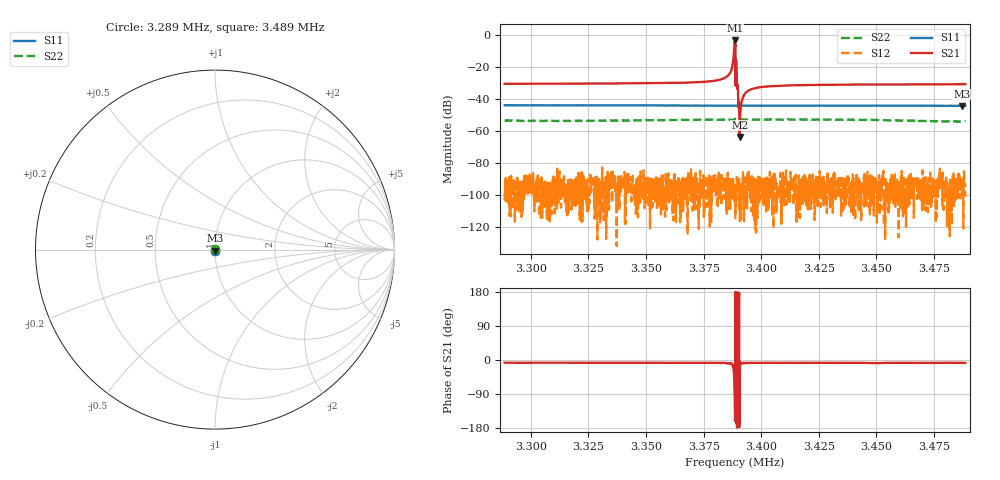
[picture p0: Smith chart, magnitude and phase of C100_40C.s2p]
# Hz S dB R 50.000
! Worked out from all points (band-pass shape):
!   6401 points, 3.289 MHz to 3.489 MHz, reference 50 ohm
!   highest |S21| = -3.53 dB at 3.389 MHz (marker M1); lowest = -63.9 dB at 3.391 MHz (marker M2)
!   |S21| within 3 dB of the highest: 3.388382 MHz to 3.388656 MHz (274 Hz wide, 0.00809 % of centre); 3.388738 MHz to 3.388755 MHz (17.18 Hz wide, 0.000507 % of centre)
!   lowest |S11| = -44.4 dB at 3.487 MHz (marker M3), VSWR 1.01, Z = 49.9 - j0.598 ohm
!   |S11| at or under -10 dB: start of sweep to end of sweep
!   |S22| runs from -54.4 to -52.5 dB; largest |S21 - S12| = 0.67
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3288594  -43.98 -94.9  -30.58 -7.1  -103.29 -78.7  -53.52 106.9
3321938  -44.04 -95.7  -30.48 -7.2  -98.46 -30.9  -53.77 104.3
3355282  -44.13 -96.8  -30.19 -7.4  -102.63 -43.3  -53.25 102.6
3382094  -44.22 -96.6  -27.98 -7.9  -94.61 4.6  -53.06 105.2
3385813  -44.24 -96.3  -25.10 -8.7  -90.65 22.5  -53.01 105.9
3386938  -44.24 -96.2  -22.37 -10.2  -93.00 88.5  -53.09 105.1
3387438  -44.24 -96.7  -19.56 -11.2  -98.21 142.4  -53.05 105.3
3387813  -44.23 -96.2  -16.54 -15.4  -90.20 24.4  -53.10 106.2
3388594  -44.28 -96.6  -3.53 -136.7  -93.38 20.2  -52.48 106.3
3388938  -44.29 -96.4  -21.02 -41.4  -98.48 -58.8  -53.08 106.3
3389282  -44.24 -96.5  -22.57 -165.6  -99.30 152.0  -52.92 105.3
3389875  -44.26 -96.2  -34.84 153.0  -91.62 74.0  -52.95 105.9
3390313  -44.25 -96.3  -42.48 169.4  -88.57 41.1  -52.92 106.3
3390625  -44.30 -96.2  -63.87 -84.2  -96.93 -107.1  -52.97 105.9
3391375  -44.24 -96.4  -42.34 -7.4  -96.15 29.7  -52.92 106.4
3392063  -44.23 -96.3  -39.04 -8.8  -88.48 80.7  -52.96 106.0
3393094  -44.27 -96.1  -36.49 -7.7  -101.91 24.0  -52.99 105.9
3396406  -44.25 -96.2  -33.65 -7.5  -101.28 -69.9  -53.03 106.0
3421938  -44.25 -96.2  -31.34 -7.5  -94.52 17.4  -52.93 104.6
3455282  -44.21 -96.5  -31.06 -7.6  -98.60 -6.5  -53.43 100.1
3487032  -44.42 -95.9  -30.85 -7.6  -91.52 49.0  -54.27 100.5
3488594  -44.37 -95.8  -30.84 -7.6  -100.96 33.6  -54.30 100.4
